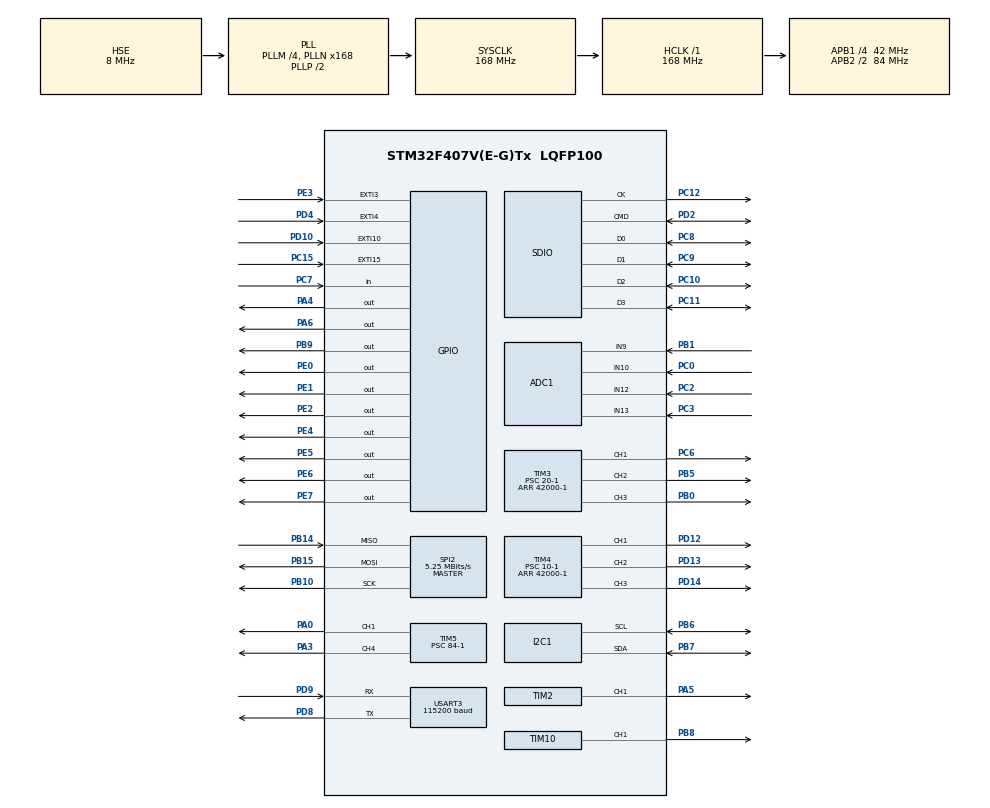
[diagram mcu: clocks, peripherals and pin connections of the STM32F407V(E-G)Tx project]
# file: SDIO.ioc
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ADC1.Channel-0\#ChannelRegularConversion=ADC_CHANNEL_10
ADC1.Channel-1\#ChannelRegularConversion=ADC_CHANNEL_12
ADC1.Channel-2\#ChannelRegularConversion=ADC_CHANNEL_13
ADC1.Channel-3\#ChannelRegularConversion=ADC_CHANNEL_9
ADC1.ClockPrescaler=ADC_CLOCK_SYNC_PCLK_DIV4
ADC1.ContinuousConvMode=ENABLE
ADC1.DMAContinuousRequests=ENABLE
ADC1.NbrOfConversion=4
ADC1.NbrOfConversionFlag=1
ADC1.Rank-0\#ChannelRegularConversion=1
ADC1.Rank-1\#ChannelRegularConversion=2
ADC1.Rank-2\#ChannelRegularConversion=3
ADC1.Rank-3\#ChannelRegularConversion=4
ADC1.SamplingTime-0\#ChannelRegularConversion=ADC_SAMPLETIME_84CYCLES
ADC1.SamplingTime-1\#ChannelRegularConversion=ADC_SAMPLETIME_84CYCLES
ADC1.SamplingTime-2\#ChannelRegularConversion=ADC_SAMPLETIME_84CYCLES
ADC1.SamplingTime-3\#ChannelRegularConversion=ADC_SAMPLETIME_84CYCLES
ADC1.ScanConvMode=ENABLE
ADC1.master=1
Dma.ADC1.0.Direction=DMA_PERIPH_TO_MEMORY
Dma.ADC1.0.FIFOMode=DMA_FIFOMODE_DISABLE
Dma.ADC1.0.Instance=DMA2_Stream0
Dma.ADC1.0.MemDataAlignment=DMA_MDATAALIGN_HALFWORD
Dma.ADC1.0.MemInc=DMA_MINC_ENABLE
Dma.ADC1.0.Mode=DMA_CIRCULAR
Dma.ADC1.0.PeriphDataAlignment=DMA_PDATAALIGN_HALFWORD
Dma.ADC1.0.PeriphInc=DMA_PINC_DISABLE
Dma.ADC1.0.Priority=DMA_PRIORITY_LOW
Dma.Request0=ADC1
Dma.Request1=SDIO_TX
Dma.Request2=SDIO_RX
Dma.SDIO_RX.2.Direction=DMA_PERIPH_TO_MEMORY
Dma.SDIO_RX.2.FIFOMode=DMA_FIFOMODE_ENABLE
Dma.SDIO_RX.2.FIFOThreshold=DMA_FIFO_THRESHOLD_FULL
Dma.SDIO_RX.2.Instance=DMA2_Stream6
Dma.SDIO_RX.2.MemBurst=DMA_MBURST_INC4
Dma.SDIO_RX.2.MemDataAlignment=DMA_MDATAALIGN_WORD
Dma.SDIO_RX.2.MemInc=DMA_MINC_ENABLE
Dma.SDIO_RX.2.Mode=DMA_PFCTRL
Dma.SDIO_RX.2.PeriphBurst=DMA_PBURST_INC4
Dma.SDIO_RX.2.PeriphDataAlignment=DMA_PDATAALIGN_WORD
Dma.SDIO_RX.2.PeriphInc=DMA_PINC_DISABLE
Dma.SDIO_RX.2.Priority=DMA_PRIORITY_LOW
Dma.SDIO_TX.1.Direction=DMA_MEMORY_TO_PERIPH
Dma.SDIO_TX.1.FIFOMode=DMA_FIFOMODE_ENABLE
Dma.SDIO_TX.1.FIFOThreshold=DMA_FIFO_THRESHOLD_FULL
Dma.SDIO_TX.1.Instance=DMA2_Stream3
Dma.SDIO_TX.1.MemBurst=DMA_MBURST_INC4
Dma.SDIO_TX.1.MemDataAlignment=DMA_MDATAALIGN_WORD
Dma.SDIO_TX.1.MemInc=DMA_MINC_ENABLE
Dma.SDIO_TX.1.Mode=DMA_PFCTRL
Dma.SDIO_TX.1.PeriphBurst=DMA_PBURST_INC4
Dma.SDIO_TX.1.PeriphDataAlignment=DMA_PDATAALIGN_WORD
Dma.SDIO_TX.1.PeriphInc=DMA_PINC_DISABLE
Dma.SDIO_TX.1.Priority=DMA_PRIORITY_LOW
FATFS.USE_DMA_CODE_SD=1
FATFS._USE_LFN=1
I2C1.I2C_Mode=I2C_Fast
Mcu.Family=STM32F4
Mcu.Name=STM32F407V(E-G)Tx
Mcu.Package=LQFP100
NVIC.DMA2_Stream0_IRQn=true\:0\:0\:false\:false\:true\:false\:true
NVIC.DMA2_Stream3_IRQn=true\:0\:0\:false\:false\:true\:false\:true
NVIC.DMA2_Stream6_IRQn=true\:0\:0\:false\:false\:true\:false\:true
NVIC.EXTI15_10_IRQn=true\:0\:0\:false\:false\:true\:true\:true
NVIC.EXTI3_IRQn=true\:0\:0\:false\:false\:true\:true\:true
NVIC.EXTI4_IRQn=true\:0\:0\:false\:false\:true\:true\:true
NVIC.PriorityGroup=NVIC_PRIORITYGROUP_4
NVIC.SDIO_IRQn=true\:0\:0\:false\:false\:true\:true\:true
NVIC.TIM7_IRQn=true\:0\:0\:false\:false\:true\:true\:true
NVIC.USART3_IRQn=true\:0\:0\:false\:false\:true\:true\:true
PA0-WKUP.Signal=S_TIM5_CH1
PA3.Signal=S_TIM5_CH4
PA4.Signal=GPIO_Output
PA5.Signal=S_TIM2_CH1_ETR
PA6.Signal=GPIO_Output
PB0.Signal=S_TIM3_CH3
PB1.Signal=ADCx_IN9
PB10.Mode=Full_Duplex_Master
PB10.Signal=SPI2_SCK
PB14.Mode=Full_Duplex_Master
PB14.Signal=SPI2_MISO
PB15.Mode=Full_Duplex_Master
PB15.Signal=SPI2_MOSI
PB5.Signal=S_TIM3_CH2
PB6.Mode=I2C
PB6.Signal=I2C1_SCL
PB7.Mode=I2C
PB7.Signal=I2C1_SDA
PB8.Signal=S_TIM10_CH1
PB9.Signal=GPIO_Output
PC0.Signal=ADCx_IN10
PC10.Mode=SD_4_bits_Wide_bus
PC10.Signal=SDIO_D2
PC11.Mode=SD_4_bits_Wide_bus
PC11.Signal=SDIO_D3
PC12.Mode=SD_4_bits_Wide_bus
PC12.Signal=SDIO_CK
PC15-OSC32_OUT.GPIO_ModeDefaultEXTI=GPIO_MODE_IT_RISING_FALLING
PC15-OSC32_OUT.Signal=GPXTI15
PC2.Signal=ADCx_IN12
PC3.Signal=ADCx_IN13
PC6.Signal=S_TIM3_CH1
PC7.Signal=GPIO_Input
PC8.Mode=SD_4_bits_Wide_bus
PC8.Signal=SDIO_D0
PC9.Mode=SD_4_bits_Wide_bus
PC9.Signal=SDIO_D1
PD10.GPIO_ModeDefaultEXTI=GPIO_MODE_IT_RISING_FALLING
PD10.Signal=GPXTI10
PD12.Signal=S_TIM4_CH1
PD13.Signal=S_TIM4_CH2
PD14.Signal=S_TIM4_CH3
PD2.Mode=SD_4_bits_Wide_bus
PD2.Signal=SDIO_CMD
PD4.GPIO_ModeDefaultEXTI=GPIO_MODE_IT_RISING_FALLING
PD4.Signal=GPXTI4
PD8.Mode=Asynchronous
PD8.Signal=USART3_TX
PD9.Mode=Asynchronous
PD9.Signal=USART3_RX
PE0.Signal=GPIO_Output
PE1.Signal=GPIO_Output
PE2.Signal=GPIO_Output
PE3.GPIO_ModeDefaultEXTI=GPIO_MODE_IT_RISING_FALLING
PE3.Signal=GPXTI3
PE4.Signal=GPIO_Output
PE5.Signal=GPIO_Output
PE6.Signal=GPIO_Output
PE7.Signal=GPIO_Output
PH0-OSC_IN.Mode=HSE-External-Oscillator
PH0-OSC_IN.Signal=RCC_OSC_IN
PH1-OSC_OUT.Mode=HSE-External-Oscillator
PH1-OSC_OUT.Signal=RCC_OSC_OUT
ProjectManager.HeapSize=0x200
ProjectManager.StackSize=0x400
ProjectManager.TargetToolchain=TrueSTUDIO
RCC.48MHZClocksFreq_Value=48000000
RCC.AHBFreq_Value=168000000
RCC.APB1CLKDivider=RCC_HCLK_DIV4
RCC.APB1Freq_Value=42000000
RCC.APB1TimFreq_Value=84000000
RCC.APB2CLKDivider=RCC_HCLK_DIV2
RCC.APB2Freq_Value=84000000
RCC.APB2TimFreq_Value=168000000
RCC.CortexFreq_Value=168000000
RCC.HCLKFreq_Value=168000000
RCC.HSE_VALUE=8000000
RCC.HSI_VALUE=16000000
RCC.LSE_VALUE=32768
RCC.PLLM=4
RCC.PLLN=168
RCC.PLLQ=7
RCC.PLLSourceVirtual=RCC_PLLSOURCE_HSE
RCC.SYSCLKFreq_VALUE=168000000
RCC.SYSCLKSource=RCC_SYSCLKSOURCE_PLLCLK
RCC.VCOOutputFreq_Value=336000000
SH.ADCx_IN10.0=ADC1_IN10,IN10
SH.ADCx_IN12.0=ADC1_IN12,IN12
SH.ADCx_IN13.0=ADC1_IN13,IN13
SH.ADCx_IN9.0=ADC1_IN9,IN9
SH.S_TIM10_CH1.0=TIM10_CH1,PWM Generation1 CH1
SH.S_TIM2_CH1_ETR.0=TIM2_CH1,PWM Generation1 CH1
SH.S_TIM3_CH1.0=TIM3_CH1,PWM Generation1 CH1
SH.S_TIM3_CH2.0=TIM3_CH2,PWM Generation2 CH2
SH.S_TIM3_CH3.0=TIM3_CH3,PWM Generation3 CH3
SH.S_TIM4_CH1.0=TIM4_CH1,PWM Generation1 CH1
SH.S_TIM4_CH2.0=TIM4_CH2,PWM Generation2 CH2
SH.S_TIM4_CH3.0=TIM4_CH3,PWM Generation3 CH3
SH.S_TIM5_CH1.0=TIM5_CH1,PWM Generation1 CH1
SH.S_TIM5_CH4.0=TIM5_CH4,PWM Generation4 CH4
SPI2.BaudRatePrescaler=SPI_BAUDRATEPRESCALER_8
SPI2.CLKPhase=SPI_PHASE_2EDGE
SPI2.CLKPolarity=SPI_POLARITY_HIGH
SPI2.CalculateBaudRate=5.25 MBits/s
SPI2.Direction=SPI_DIRECTION_2LINES
SPI2.Mode=SPI_MODE_MASTER
SPI2.VirtualType=VM_MASTER
TIM10.Channel=TIM_CHANNEL_1
TIM10.Period=10000-1
TIM10.Prescaler=336-1
TIM10.Pulse=100
TIM2.AutoReloadPreload=TIM_AUTORELOAD_PRELOAD_DISABLE
TIM2.Channel-PWM\ Generation1\ CH1=TIM_CHANNEL_1
TIM2.Period=1000-1
TIM2.Prescaler=168-1
TIM2.Pulse-PWM\ Generation1\ CH1=500
TIM3.Channel-PWM\ Generation1\ CH1=TIM_CHANNEL_1
TIM3.Channel-PWM\ Generation2\ CH2=TIM_CHANNEL_2
TIM3.Channel-PWM\ Generation3\ CH3=TIM_CHANNEL_3
TIM3.Period=42000-1
TIM3.Prescaler=20-1
TIM3.Pulse-PWM\ Generation1\ CH1=21000-1
TIM3.Pulse-PWM\ Generation2\ CH2=15000-1
TIM3.Pulse-PWM\ Generation3\ CH3=5250-1
TIM4.Channel-PWM\ Generation1\ CH1=TIM_CHANNEL_1
TIM4.Channel-PWM\ Generation2\ CH2=TIM_CHANNEL_2
TIM4.Channel-PWM\ Generation3\ CH3=TIM_CHANNEL_3
TIM4.Period=42000-1
TIM4.Prescaler=10-1
TIM4.Pulse-PWM\ Generation1\ CH1=21000-1
TIM4.Pulse-PWM\ Generation2\ CH2=10500-1
TIM4.Pulse-PWM\ Generation3\ CH3=5250-1
TIM5.Channel-PWM\ Generation1\ CH1=TIM_CHANNEL_1
TIM5.Channel-PWM\ Generation4\ CH4=TIM_CHANNEL_4
TIM5.Period=10000-1
TIM5.Prescaler=84-1
TIM5.Pulse-PWM\ Generation1\ CH1=5000
TIM7.AutoReloadPreload=TIM_AUTORELOAD_PRELOAD_ENABLE
TIM7.Period=8399
TIM7.Prescaler=9999
USART3.BaudRate=115200
USART3.VirtualMode=VM_ASYNC
VP_FATFS_VS_SDIO.Mode=SDIO
VP_TIM10_VS_ClockSourceINT.Mode=Enable_Timer
VP_TIM2_VS_ClockSourceINT.Mode=Internal
VP_TIM3_VS_ClockSourceINT.Mode=Internal
VP_TIM4_VS_ClockSourceINT.Mode=Internal
VP_TIM5_VS_ClockSourceINT.Mode=Internal
VP_TIM7_VS_ClockSourceINT.Mode=Enable_Timer
board=custom

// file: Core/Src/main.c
/* USER CODE BEGIN Header */
/**
  ******************************************************************************
  * @file           : main.c
  * @brief          : Main program body
  ******************************************************************************
  * @attention
  *
  * <h2><center>&copy; Copyright (c) 2020 STMicroelectronics.
  * All rights reserved.</center></h2>
  *
  * This software component is licensed by ST under Ultimate Liberty license
  * SLA0044, the "License"; You may not use this file except in compliance with
  * the License. You may obtain a copy of the License at:
  *                             www.st.com/SLA0044
  *
  ******************************************************************************
  */
/* USER CODE END Header */
#include "main.h"
#include "adc.h"
#include "dma.h"
#include "fatfs.h"
#include "i2c.h"
#include "sdio.h"
#include "spi.h"
#include "tim.h"
#include "usart.h"
#include "gpio.h"

/* USER CODE BEGIN Includes */
#include <stdio.h>
#include "init.h"
#include "clcd.h"
/* USER CODE END Includes */

void SystemClock_Config(void);

int main(void)
{

  /* MCU Configuration--------------------------------------------------------*/

  /* Reset of all peripherals, Initializes the Flash interface and the Systick. */
  HAL_Init();

  /* Configure the system clock */
  SystemClock_Config();

  /* Initialize all configured peripherals */
  MX_GPIO_Init();
  MX_DMA_Init();
  MX_USART3_UART_Init();
  MX_TIM7_Init();
  MX_TIM3_Init();
  MX_TIM4_Init();
  MX_TIM10_Init();
  MX_TIM2_Init();
  MX_TIM5_Init();
  MX_ADC1_Init();
  MX_I2C1_Init();
  MX_SPI2_Init();
  MX_SDIO_SD_Init();
  MX_FATFS_Init();
  /* USER CODE BEGIN 2 */
  my_init();
  CLCD_Init();
  /* USER CODE END 2 */

  /* Infinite loop */
  /* USER CODE BEGIN WHILE */
  int		i = 0;
  BYTE		buf[32] = "Hello World!";
  uint32_t	bytes_of_write,bytes_of_read;
  uint8_t	str[20];

  // mount SD card
  if( (retSD=f_mount(&SDFatFS,&SDPath[0],1)) == FR_OK )
  {
	  sprintf(str,"f_mount OK %d",retSD);
	  CLCD_Puts(0,0,str);
  }
  else
  {
	  sprintf(str,"f_mount Error %d",retSD);
	  CLCD_Puts(0,0,str);
  }

  // Create and open a file
  /*
  if( (retSD=f_open(&SDFile,"0:/hello.txt",FA_CREATE_NEW|FA_WRITE)) == FR_OK )
  {
	  f_write(&SDFile,buf,sizeof(buf),&bytes_of_write);

	  sprintf(str,"f_write OK");
	  CLCD_Puts(0,0,str);
	  sprintf(str,"%d bytes written",bytes_of_write);
	  CLCD_Puts(0,1,str);

	  f_close(&SDFile);
  }
  else
  {
	  sprintf(str,"f_write Error %d",retSD);
	  CLCD_Puts(0,0,str);
  }
  */

  // Open an existing file
  if( (retSD=f_open(&SDFile,"0:/hello.txt",FA_OPEN_EXISTING|FA_READ)) == FR_OK )
  {
	f_read(&SDFile,buf,sizeof(buf),&bytes_of_read);

	sprintf(str,"%s",buf);
	CLCD_Puts(0,0,str);
	sprintf(str,"%d bytes read",bytes_of_read);
	CLCD_Puts(0,1,str);

	f_close(&SDFile);
  }
  else
  {
	sprintf(str,"f_read Error %d",retSD);
	CLCD_Puts(0,0,str);
  }

  while (1)
  {
    /* USER CODE END WHILE */

  }
}

void SystemClock_Config(void)
{
  RCC_OscInitTypeDef RCC_OscInitStruct = {0};
  RCC_ClkInitTypeDef RCC_ClkInitStruct = {0};

  /** Configure the main internal regulator output voltage
  */
  __HAL_RCC_PWR_CLK_ENABLE();
  __HAL_PWR_VOLTAGESCALING_CONFIG(PWR_REGULATOR_VOLTAGE_SCALE1);
  /** Initializes the RCC Oscillators according to the specified parameters
  * in the RCC_OscInitTypeDef structure.
  */
  RCC_OscInitStruct.OscillatorType = RCC_OSCILLATORTYPE_HSE;
  RCC_OscInitStruct.HSEState = RCC_HSE_ON;
  RCC_OscInitStruct.PLL.PLLState = RCC_PLL_ON;
  RCC_OscInitStruct.PLL.PLLSource = RCC_PLLSOURCE_HSE;
  RCC_OscInitStruct.PLL.PLLM = 4;
  RCC_OscInitStruct.PLL.PLLN = 168;
  RCC_OscInitStruct.PLL.PLLP = RCC_PLLP_DIV2;
  RCC_OscInitStruct.PLL.PLLQ = 7;
  if (HAL_RCC_OscConfig(&RCC_OscInitStruct) != HAL_OK)
  {
    Error_Handler();
  }
  /** Initializes the CPU, AHB and APB buses clocks
  */
  RCC_ClkInitStruct.ClockType = RCC_CLOCKTYPE_HCLK|RCC_CLOCKTYPE_SYSCLK
                              |RCC_CLOCKTYPE_PCLK1|RCC_CLOCKTYPE_PCLK2;
  RCC_ClkInitStruct.SYSCLKSource = RCC_SYSCLKSOURCE_PLLCLK;
  RCC_ClkInitStruct.AHBCLKDivider = RCC_SYSCLK_DIV1;
  RCC_ClkInitStruct.APB1CLKDivider = RCC_HCLK_DIV4;
  RCC_ClkInitStruct.APB2CLKDivider = RCC_HCLK_DIV2;

  if (HAL_RCC_ClockConfig(&RCC_ClkInitStruct, FLASH_LATENCY_5) != HAL_OK)
  {
    Error_Handler();
  }
}

void Error_Handler(void)
{
}

/************************ (C) COPYRIGHT STMicroelectronics *****END OF FILE****/
